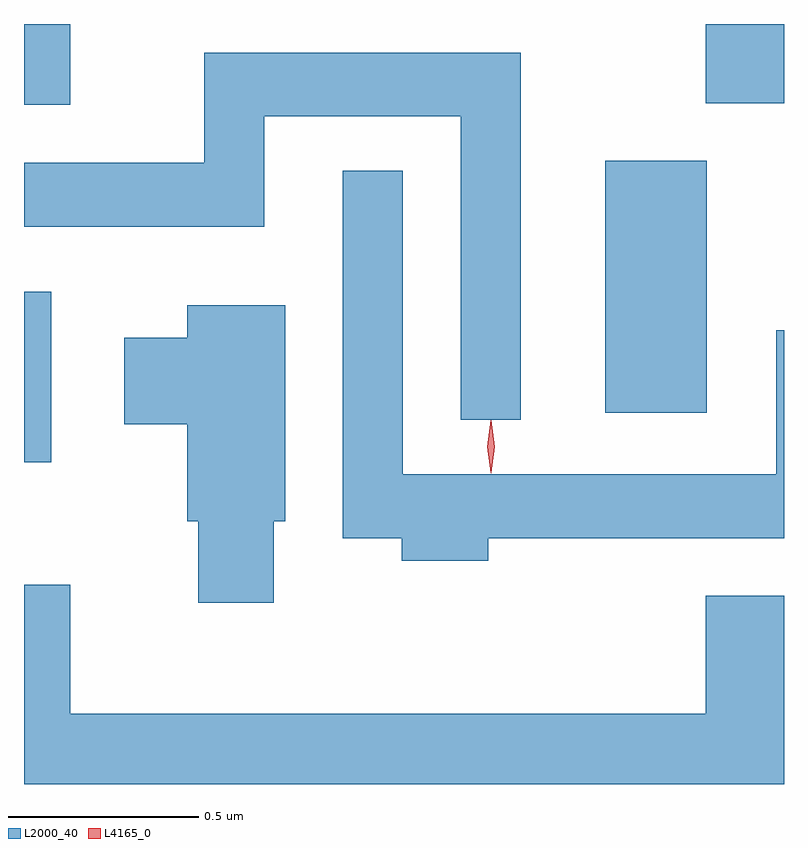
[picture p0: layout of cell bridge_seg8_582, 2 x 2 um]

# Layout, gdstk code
import gdstk
lib = gdstk.Library(unit=1e-6, precision=1e-09)
def R(c, l, rs):  # rectangles x0, y0, x1, y1
    for r in rs: c.add(gdstk.rectangle(r[:2], r[2:], *l))
def P(c, l, *ps):  # polygons
    for p in ps: c.add(gdstk.Polygon(p, *l))
L2000_40 = (2000, 40)
L4165_0 = (4165, 0)

bridge_seg8_582 = lib.new_cell('bridge_seg8_582')
R(bridge_seg8_582, L2000_40, [(611.477,1819.586,611.549,1820.034), (613.006,1819.716,613.274,1820.379), (611.477,1820.526,611.599,1820.739), (613.271,1820.531,613.477,1820.739)])
P(bridge_seg8_582, L2000_40, [(612.784,1820.664),(611.951,1820.664),(611.951,1820.374),(611.477,1820.374),(611.477,1820.206),(612.109,1820.206),(612.109,1820.496),(612.626,1820.496),(612.626,1819.698),(612.784,1819.698)],
  [(612.699,1819.386),(613.477,1819.386),(613.477,1819.933),(613.456,1819.933),(613.456,1819.554),(612.474,1819.554),(612.474,1820.353),(612.316,1820.353),(612.316,1819.386),(612.471,1819.386),(612.471,1819.326),(612.699,1819.326)],
  [(612.134,1819.431),(612.164,1819.431),(612.164,1819.999),(611.906,1819.999),(611.906,1819.914),(611.741,1819.914),(611.741,1819.686),(611.906,1819.686),(611.906,1819.431),(611.936,1819.431),(611.936,1819.216),(612.134,1819.216)],
  [(613.477,1819.234),(613.271,1819.234),(613.271,1818.924),(611.599,1818.924),(611.599,1819.264),(611.477,1819.264),(611.477,1818.739),(613.477,1818.739)])
P(bridge_seg8_582, L4165_0, [(612.706,1819.557),(612.705,1819.558),(612.696,1819.627),(612.705,1819.696),(612.706,1819.696),(612.706,1819.696),(612.716,1819.627),(612.706,1819.558)],
  [(612.706,1819.559),(612.705,1819.56),(612.696,1819.626),(612.705,1819.692),(612.706,1819.693),(612.706,1819.692),(612.716,1819.626),(612.706,1819.56)])

lib.write_gds('bridge_seg8_582.gds')
